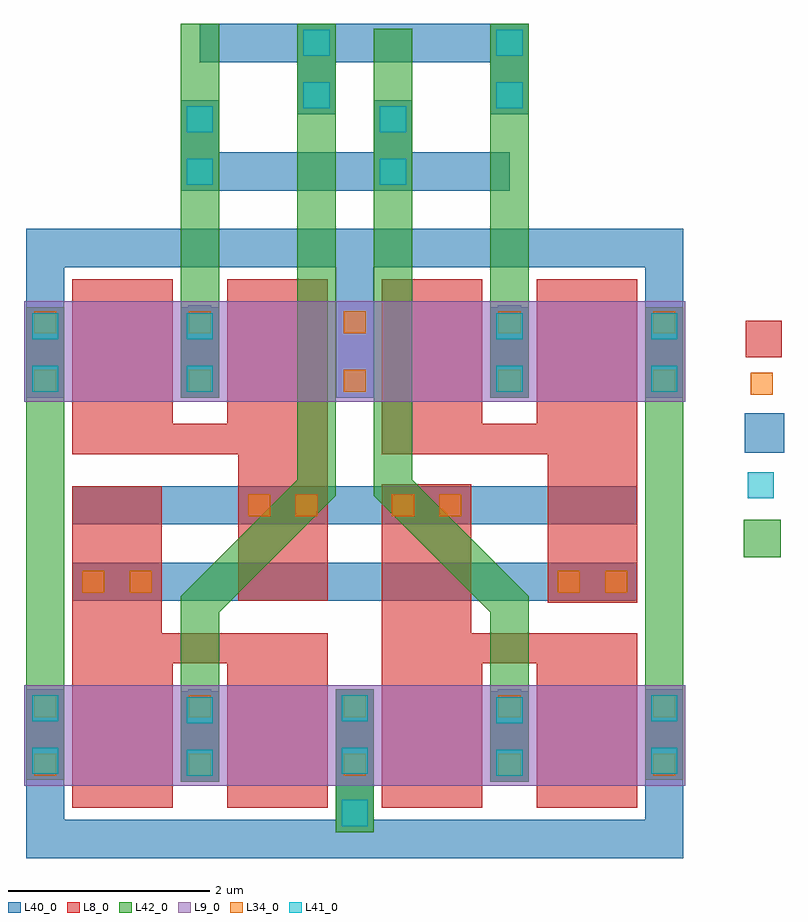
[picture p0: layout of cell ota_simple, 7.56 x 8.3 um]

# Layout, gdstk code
import gdstk
lib = gdstk.Library(unit=1e-6, precision=1e-09)
def R(c, l, rs):  # rectangles x0, y0, x1, y1
    for r in rs: c.add(gdstk.rectangle(r[:2], r[2:], *l))
def A(c, l, x, y, w, h, nx, ny, dx, dy):  # array of equal rectangles
    R(c, l, [(x+i*dx, y+j*dy, x+i*dx+w, y+j*dy+h) for i in range(nx) for j in range(ny)])
def P(c, l, *ps):  # polygons
    for p in ps: c.add(gdstk.Polygon(p, *l))
L8_0 = (8, 0)
L9_0 = (9, 0)
L34_0 = (34, 0)
L40_0 = (40, 0)
L41_0 = (41, 0)
L42_0 = (42, 0)

ota_simple = lib.new_cell('ota_simple')
A(ota_simple, L8_0, 46.29, 885.825, 1, 0.12, 4, 2, 1.54, 1.32)
A(ota_simple, L8_0, 46.29, 885.945, 1, 0.1, 4, 2, 1.54, 1.1)
A(ota_simple, L8_0, 46.29, 886.045, 1, 1, 4, 2, 1.54, 3.82)
A(ota_simple, L8_0, 46.29, 889.645, 1, 0.12, 4, 2, 1.54, 1.32)
A(ota_simple, L8_0, 46.29, 889.765, 1, 0.1, 4, 2, 1.54, 1.1)
R(ota_simple, L8_0, [(46.29,887.265,48.83,887.565), (49.37,887.265,51.91,887.565), (46.29,887.565,47.18,889.025), (49.37,887.565,50.26,888.625), (46.29,887.865,47.18,888.285), (51.02,887.865,51.91,888.285), (47.94,887.885,48.83,889.345), (51.02,888.285,51.91,889.345), (47.94,888.625,48.83,889.045), (49.37,888.625,50.26,889.045), (46.29,889.345,48.83,889.645), (49.37,889.345,51.91,889.645), (52.99,890.31,53.35,890.67)])
A(ota_simple, L9_0, 46.29, 886.045, 1, 1, 4, 2, 1.54, 3.82)
A(ota_simple, L9_0, 47.29, 886.045, 0.54, 1, 3, 2, 1.54, 3.82)
R(ota_simple, L9_0, [(45.81,886.045,46.29,887.045), (51.91,886.045,52.39,887.045), (45.81,889.865,46.29,890.865), (51.91,889.865,52.39,890.865)])
R(ota_simple, L34_0, [(45.91,886.145,46.13,886.365), (45.91,886.145,46.13,886.365), (47.45,886.145,47.67,886.365), (47.45,886.145,47.67,886.365), (48.99,886.145,49.21,886.365), (48.99,886.145,49.21,886.365), (50.53,886.145,50.75,886.365), (50.53,886.145,50.75,886.365), (52.07,886.145,52.29,886.365), (52.07,886.145,52.29,886.365), (45.91,886.725,46.13,886.945), (45.91,886.725,46.13,886.945), (47.45,886.725,47.67,886.945), (47.45,886.725,47.67,886.945), (48.99,886.725,49.21,886.945), (48.99,886.725,49.21,886.945), (50.53,886.725,50.75,886.945), (50.53,886.725,50.75,886.945), (52.07,886.725,52.29,886.945), (52.07,886.725,52.29,886.945), (46.39,887.965,46.61,888.185), (46.86,887.965,47.08,888.185), (51.12,887.965,51.34,888.185), (51.59,887.965,51.81,888.185), (48.04,888.725,48.26,888.945), (48.51,888.725,48.73,888.945), (49.47,888.725,49.69,888.945), (49.94,888.725,50.16,888.945), (53.04,889.935,53.26,890.155), (45.91,889.965,46.13,890.185), (45.91,889.965,46.13,890.185), (47.45,889.965,47.67,890.185), (47.45,889.965,47.67,890.185), (48.99,889.965,49.21,890.185), (48.99,889.965,49.21,890.185), (50.53,889.965,50.75,890.185), (50.53,889.965,50.75,890.185), (52.07,889.965,52.29,890.185), (52.07,889.965,52.29,890.185), (45.91,890.545,46.13,890.765), (45.91,890.545,46.13,890.765), (47.45,890.545,47.67,890.765), (47.45,890.545,47.67,890.765), (48.99,890.545,49.21,890.765), (48.99,890.545,49.21,890.765), (50.53,890.545,50.75,890.765), (50.53,890.545,50.75,890.765), (52.07,890.545,52.29,890.765), (52.07,890.545,52.29,890.765)])
A(ota_simple, L40_0, 45.905, 886.085, 0.23, 0.92, 5, 2, 1.54, 3.82)
A(ota_simple, L40_0, 45.83, 886.105, 0.38, 0.9, 3, 1, 3.08, 0)
R(ota_simple, L40_0, [(48.91,885.585,49.29,886.485), (47.37,886.085,47.75,886.985), (50.45,886.085,50.83,886.985), (46.33,887.905,47.14,888.245), (51.06,887.905,51.87,888.245), (47.98,888.665,48.79,889.005), (49.41,888.665,50.22,889.005), (52.98,889.36,53.37,889.75), (45.83,889.905,46.21,890.805), (47.37,889.905,47.75,890.805), (50.45,889.905,50.83,890.805), (51.99,889.905,52.37,890.805), (47.37,891.965,47.75,892.865), (49.29,891.965,49.67,892.865), (48.53,892.725,48.91,893.625), (50.45,892.725,50.83,893.625)])
A(ota_simple, L41_0, 45.89, 886.685, 0.26, 0.26, 3, 1, 3.08, 0)
R(ota_simple, L41_0, [(48.97,885.645,49.23,885.905), (47.43,886.145,47.69,886.405), (50.51,886.145,50.77,886.405), (45.89,886.165,46.15,886.425), (48.97,886.165,49.23,886.425), (48.97,886.165,49.23,886.425), (52.05,886.165,52.31,886.425), (47.43,886.665,47.69,886.925), (50.51,886.665,50.77,886.925), (53.01,888.905,53.27,889.165), (45.89,889.965,46.15,890.225), (47.43,889.965,47.69,890.225), (50.51,889.965,50.77,890.225), (52.05,889.965,52.31,890.225), (45.89,890.485,46.15,890.745), (47.43,890.485,47.69,890.745), (50.51,890.485,50.77,890.745), (52.05,890.485,52.31,890.745), (47.43,892.025,47.69,892.285), (49.35,892.025,49.61,892.285), (47.43,892.545,47.69,892.805), (49.35,892.545,49.61,892.805), (48.59,892.785,48.85,893.045), (50.51,892.785,50.77,893.045), (48.59,893.305,48.85,893.565), (50.51,893.305,50.77,893.565)])
A(ota_simple, L42_0, 45.83, 886.105, 0.38, 0.9, 3, 1, 3.08, 0)
R(ota_simple, L42_0, [(48.91,885.585,49.29,886.485), (47.37,886.085,47.75,886.985), (50.45,886.085,50.83,886.985), (52.97,888.32,53.34,888.69), (45.83,889.905,46.21,890.805), (47.37,889.905,47.75,890.805), (50.45,889.905,50.83,890.805), (51.99,889.905,52.37,890.805), (47.37,891.965,47.75,892.865), (49.29,891.965,49.67,892.865), (48.53,892.725,48.91,893.625), (50.45,892.725,50.83,893.625)])
P(ota_simple, L42_0, [(47.37,886.085),(47.37,887.93),(48.53,889.09),(48.53,893.575),(48.91,893.575),(48.91,888.93),(47.75,887.77),(47.75,886.085)],
  [(50.45,886.085),(50.45,887.77),(49.29,888.93),(49.29,893.575),(49.67,893.575),(49.67,889.09),(50.83,887.93),(50.83,886.085)])
ota_simple.add(gdstk.FlexPath([(47.56,889.905),(47.56,893.625)], 0.38, ends="flush", simple_path=True, layer=42, datatype=0))  # L42_0
ota_simple.add(gdstk.FlexPath([(50.64,889.905),(50.64,893.625)], 0.38, ends="flush", simple_path=True, layer=42, datatype=0))  # L42_0
ota_simple.add(gdstk.FlexPath([(46.02,890.805),(46.02,886.105)], 0.38, ends="flush", simple_path=True, layer=42, datatype=0))  # L42_0
ota_simple.add(gdstk.FlexPath([(52.18,890.805),(52.18,886.105)], 0.38, ends="flush", simple_path=True, layer=42, datatype=0))  # L42_0
ota_simple.add(gdstk.FlexPath([(47.56,893.435),(50.64,893.435)], 0.38, ends="flush", simple_path=True, layer=40, datatype=0))  # L40_0
ota_simple.add(gdstk.FlexPath([(47.56,892.155),(50.64,892.155)], 0.38, ends="flush", simple_path=True, layer=40, datatype=0))  # L40_0
ota_simple.add(gdstk.FlexPath([(51.91,888.075),(46.29,888.075)], 0.38, ends="flush", simple_path=True, layer=40, datatype=0))  # L40_0
ota_simple.add(gdstk.FlexPath([(51.91,888.835),(46.29,888.835)], 0.38, ends="flush", simple_path=True, layer=40, datatype=0))  # L40_0
ota_simple.add(gdstk.FlexPath([(45.84,891.395),(52.295,891.395)], 0.38, ends="flush", simple_path=True, layer=40, datatype=0))  # L40_0
ota_simple.add(gdstk.FlexPath([(46.02,889.905),(46.02,891.585)], 0.38, ends="flush", simple_path=True, layer=40, datatype=0))  # L40_0
ota_simple.add(gdstk.FlexPath([(52.18,889.905),(52.18,891.585)], 0.38, ends="flush", simple_path=True, layer=40, datatype=0))  # L40_0
ota_simple.add(gdstk.FlexPath([(49.1,887.005),(49.1,885.325)], 0.38, ends="flush", simple_path=True, layer=40, datatype=0))  # L40_0
ota_simple.add(gdstk.FlexPath([(49.1,889.905),(49.1,891.585)], 0.38, ends="flush", simple_path=True, layer=40, datatype=0))  # L40_0
ota_simple.add(gdstk.FlexPath([(52.18,887.005),(52.18,885.325)], 0.38, ends="flush", simple_path=True, layer=40, datatype=0))  # L40_0
ota_simple.add(gdstk.FlexPath([(46.02,887.005),(46.02,885.325)], 0.38, ends="flush", simple_path=True, layer=40, datatype=0))  # L40_0
ota_simple.add(gdstk.FlexPath([(45.84,885.515),(52.295,885.515)], 0.38, ends="flush", simple_path=True, layer=40, datatype=0))  # L40_0

lib.write_gds('ota_simple.gds')
